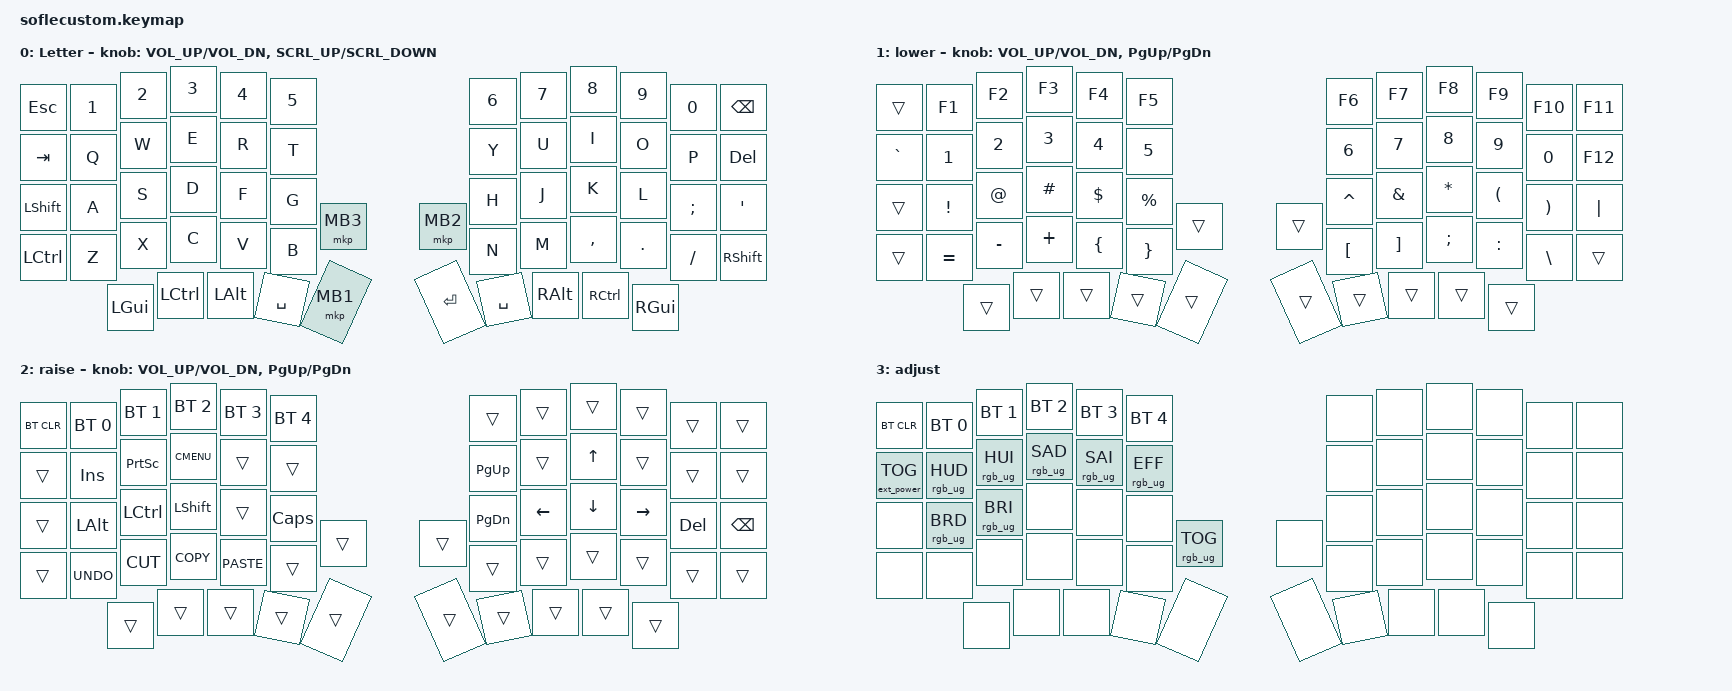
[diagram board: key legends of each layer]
/*
 * Copyright (c) 2020 The ZMK Contributors
 *
 * SPDX-License-Identifier: MIT
 */

#define ZMK_POINTING_DEFAULT_MOVE_VAL 800   // default: 600
#define ZMK_POINTING_DEFAULT_SCRL_VAL 200    // default: 10

#include <behaviors.dtsi>
#include <dt-bindings/zmk/keys.h>
#include <dt-bindings/zmk/bt.h>
#include <dt-bindings/zmk/rgb.h>
#include <dt-bindings/zmk/ext_power.h>
#include <dt-bindings/zmk/mouse.h>
#include <dt-bindings/zmk/pointing.h>

#define BASE 0
#define LOWER 1
#define RAISE 2
#define ADJUST 3

/ {

   // Activate ADJUST layer by pressing raise and lower
    conditional_layers {
        compatible = "zmk,conditional-layers";
        adjust_layer {
            if-layers = <LOWER RAISE>;
            then-layer = <ADJUST>;
        };
    };

    behaviors {
        mouse_scroll: mouse_wheel_scrl{
            compatible = "zmk,behavior-sensor-rotate-var";
            #sensor-binding-cells = <2>;
            bindings = <&msc>, <&msc>;
            tap-ms = <5>;
        };
    };

    keymap {
        compatible = "zmk,keymap";

        default_layer {
            display-name = "Letter";
            bindings = <

                // ------------------------------------------------------------------------------------------------------------
                // |   `   |  1  |  2  |  3   |  4   |  5   |                   |  6   |  7    |  8    |  9   |   0   |       |
                // |  ESC  |  Q  |  W  |  E   |  R   |  T   |                   |  Y   |  U    |  I    |  O   |   P   | BKSPC |
                // |  TAB  |  A  |  S  |  D   |  F   |  G   |                   |  H   |  J    |  K    |  L   |   ;   |   '   |
                // | SHIFTS |  Z  |  X  |  C   |  V   |  B   |  MUTE  |  |       |  N   |  M    |  ,    |  .   |   /   | SHIFT |
                //               | GUI | ALT  | CTRL | LOWER|  ENTER |  | SPACE | RAISE| CTRL  | ALT   | GUI  |
                
                &kp ESC     &kp N1  &kp N2   &kp N3    &kp N4    &kp N5                                     &kp N6      &kp N7    &kp N8        &kp N9      &kp N0     &kp BSPC
                &kp TAB     &kp Q   &kp W    &kp E     &kp R     &kp T                                      &kp Y       &kp U     &kp I         &kp O       &kp P      &kp DEL
                &kp LSHFT   &kp A   &kp S    &kp D     &kp F     &kp G                                      &kp H       &kp J     &kp K         &kp L       &kp SEMI   &kp SQT
                &kp LCTRL   &kp Z   &kp X    &kp C     &kp V     &kp B      &mkp MB3          &mkp MB2      &kp N       &kp M     &kp COMMA     &kp DOT     &kp FSLH   &kp RSHFT
                                    &kp LGUI &kp LCTRL &kp LALT  &kp SPACE  &mkp MB1          &kp RET       &kp SPACE   &kp RALT  &kp RCTRL     &kp RGUI
            >;

            sensor-bindings = 
                //<&mouse_scroll SCRL_DOWN    SCRL_UP>,
                <&inc_dec_kp    C_VOL_UP    C_VOL_DN>,
                <&mouse_scroll  SCRL_UP     SCRL_DOWN>;
        };

        // default_layer {
        //     display-name = "Signs";
        //     bindings = <

        //         // ------------------------------------------------------------------------------------------------------------
        //         // |   `   |  1  |  2  |  3   |  4   |  5   |                   |  6   |  7    |  8    |  9   |   0   |       |
        //         // |  ESC  |  Q  |  W  |  E   |  R   |  T   |                   |  Y   |  U    |  I    |  O   |   P   | BKSPC |
        //         // |  TAB  |  A  |  S  |  D   |  F   |  G   |                   |  H   |  J    |  K    |  L   |   ;   |   '   |
        //         // | SHIFTS |  Z  |  X  |  C   |  V   |  B   |  MUTE  |  |       |  N   |  M    |  ,    |  .   |   /   | SHIFT |
        //         //               | GUI | ALT  | CTRL | LOWER|  ENTER |  | SPACE | RAISE| CTRL  | ALT   | GUI  |
                
        //         &kp ESC     &kp N1  &kp N2   &kp N3    &kp N4    &kp N5                                     &kp N6      &kp N7    &kp N8        &kp N9      &kp N0     &kp BSPC
        //         &kp TAB     &kp Q   &kp W    &kp E     &kp R     &kp T                                      &kp Y       &kp U     &kp I         &kp O       &kp P      &kp DEL
        //         &kp LSHFT   &kp A   &kp S    &kp D     &kp F     &kp G                                      &kp H       &kp J     &kp K         &kp L       &kp SEMI   &kp SQT
        //         &kp LCTRL   &kp Z   &kp X    &kp C     &kp V     &kp B      &mkp MB3          &mkp MB2      &kp N       &kp M     &kp COMMA     &kp DOT     &kp FSLH   &kp RSHFT
        //                             &kp LGUI &kp LCTRL &kp LALT  &kp SPACE  &mkp MB1          &kp RET       &kp SPACE   &kp RALT  &kp RCTRL     &kp RGUI
        //     >;

        //     sensor-bindings = 
        //         <&mouse_scroll SCRL_UP SCRL_DOWN>,
        //         <&mouse_scroll SCRL_UP SCRL_DOWN>;
        // };

        lower_layer {
            display-name = "lower";
// TODO: Some binds are waiting for shifted keycode support.
// ------------------------------------------------------------------------------------------------------------
// |       |  F1 |  F2 |  F3  |  F4  |  F5  |                   |  F6  |  F7   |  F8   |  F9  |  F10  |  F11  |
// |   `   |  1  |  2  |  3   |  4   |  5   |                   |  6   |  7    |  8    |  9   |   0   |  F12  |
// |       |  !  |  @  |  #   |  $   |  %   |                   |  ^   |  &    |  *    |  (   |   )   |   |   |
// |       |  =  |  -  |  +   |  {   |  }   |        |  |       |  [   |  ]    |  ;    |  :   |   \   |       |
//               |     |      |      |      |        |  |       |      |       |       |      |
            bindings = <
&trans    &kp F1    &kp F2    &kp F3      &kp F4    &kp F5                    &kp F6    &kp F7   &kp F8    &kp F9    &kp F10   &kp F11
&kp GRAVE &kp N1    &kp N2    &kp N3      &kp N4    &kp N5                    &kp N6    &kp N7   &kp N8    &kp N9    &kp N0    &kp F12
&trans    &kp EXCL  &kp AT    &kp HASH    &kp DLLR  &kp PRCNT                 &kp CARET &kp AMPS &kp ASTRK &kp LPAR  &kp RPAR  &kp PIPE
&trans    &kp EQUAL &kp MINUS &kp PLUS &kp LBRC  &kp RBRC   &trans &trans  &kp LBKT  &kp RBKT &kp SEMI  &kp COLON &kp BSLH  &trans
                    &trans    &trans      &trans    &trans     &trans &trans  &trans    &trans   &trans    &trans
            >;

            sensor-bindings = <&inc_dec_kp C_VOL_UP C_VOL_DN &inc_dec_kp PG_UP PG_DN>;
        };

        raise_layer {
            display-name = "raise";
// ------------------------------------------------------------------------------------------------------------
// | BTCLR | BT1  | BT2  |  BT3  |  BT4  |  BT5 |                |      |      |       |      |       |       |
// |       | INS  | PSCR | GUI   |       |      |                | PGUP |      |   ^   |      |       |       |
// |       | ALT  | CTRL | SHIFT |       | CAPS |                | PGDN |   <- |   v   |  ->  |  DEL  | BKSPC |
// |       | UNDO | CUT  | COPY  | PASTE |      |      |  |      |      |      |       |      |       |       |
//                |      |       |       |      |      |  |      |      |      |       |      |
            bindings = <
&bt BT_CLR &bt BT_SEL 0 &bt BT_SEL 1 &bt BT_SEL 2 &bt BT_SEL 3 &bt BT_SEL 4                  &trans    &trans    &trans   &trans    &trans  &trans
&trans     &kp INS      &kp PSCRN    &kp K_CMENU  &trans       &trans                        &kp PG_UP &trans    &kp UP   &trans    &trans  &trans
&trans     &kp LALT     &kp LCTRL    &kp LSHFT    &trans       &kp CLCK                      &kp PG_DN &kp LEFT  &kp DOWN &kp RIGHT &kp DEL &kp BSPC
&trans     &kp K_UNDO   &kp K_CUT    &kp K_COPY   &kp K_PASTE  &trans        &trans  &trans  &trans    &trans    &trans   &trans    &trans  &trans
                        &trans       &trans       &trans       &trans        &trans  &trans  &trans    &trans    &trans   &trans
            >;

            sensor-bindings = <&inc_dec_kp C_VOL_UP C_VOL_DN &inc_dec_kp PG_UP PG_DN>;
        };

        adjust_layer {
// ----------------------------------------------------------------------------------------------------------------------------
// | BTCLR  |  BT1    |  BT2    |   BT3   |   BT4   |   BT5   |                  |      |      |       |      |       |       |
// | EXTPWR | RGB_HUD | RGB_HUI | RGB_SAD | RGB_SAI | RGB_EFF |                  |      |      |       |      |       |       |
// |        | RGB_BRD | RGB_BRI |         |         |         |                  |      |      |       |      |       |       |
// |        |         |         |         |         |         | RGB_TOG | |      |      |      |       |      |       |       |
//                    |         |         |         |         |         | |      |      |      |       |      |
            display-name = "adjust";
            bindings = <
&bt BT_CLR        &bt BT_SEL 0    &bt BT_SEL 1    &bt BT_SEL 2    &bt BT_SEL 3    &bt BT_SEL 4                            &none &none &none &none &none &none
&ext_power EP_TOG &rgb_ug RGB_HUD &rgb_ug RGB_HUI &rgb_ug RGB_SAD &rgb_ug RGB_SAI &rgb_ug RGB_EFF                         &none &none &none &none &none &none
&none             &rgb_ug RGB_BRD &rgb_ug RGB_BRI &none           &none           &none                                   &none &none &none &none &none &none
&none             &none           &none           &none           &none           &none            &rgb_ug RGB_TOG &none  &none &none &none &none &none &none
                                  &none           &none           &none           &none            &none           &none  &none &none &none &none
            >;
        };

    };
};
